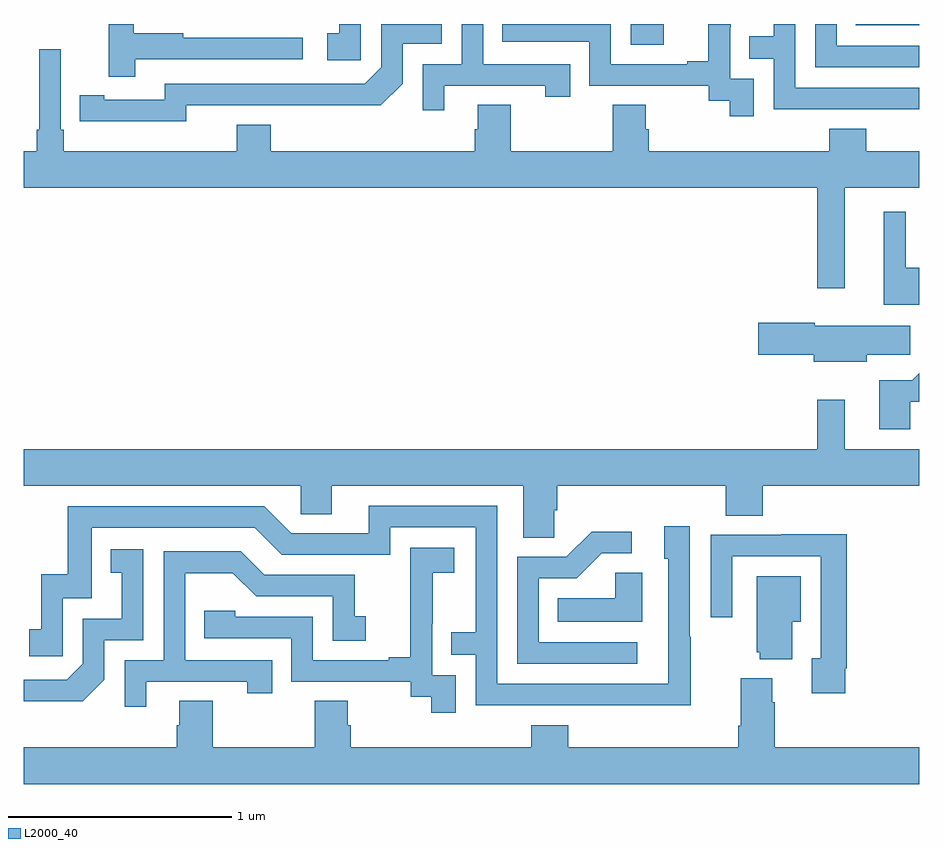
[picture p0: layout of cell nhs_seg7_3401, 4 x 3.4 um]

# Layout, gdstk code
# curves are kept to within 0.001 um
import gdstk
lib = gdstk.Library(unit=1e-6, precision=1e-09)
def R(c, l, rs):  # rectangles x0, y0, x1, y1
    for r in rs: c.add(gdstk.rectangle(r[:2], r[2:], *l))
def P(c, l, *ps):  # polygons
    for p in ps: c.add(gdstk.Polygon(p, *l))
L2000_40 = (2000, 40)

nhs_seg7_3401 = lib.new_cell('nhs_seg7_3401')
R(nhs_seg7_3401, L2000_40, [(329.712,1015.908,329.86,1016), (330.718,1015.994,331,1016)])
P(nhs_seg7_3401, L2000_40, [(331,1015.716),(330.447,1015.716),(330.447,1016),(330.351,1016),(330.351,1015.946),(330.241,1015.946),(330.241,1015.845),(330.351,1015.845),(330.351,1015.62),(330.847,1015.62),(330.847,1015.619),(331,1015.619)],
  [(328.506,1016),(328.409,1016),(328.409,1015.959),(328.356,1015.959),(328.356,1015.839),(328.506,1015.839)],
  [(327.497,1015.842),(328.246,1015.842),(328.246,1015.938),(327.713,1015.938),(327.713,1015.958),(327.49,1015.958),(327.49,1016),(327.38,1016),(327.38,1015.764),(327.497,1015.764)],
  [(328.879,1015.725),(329.33,1015.725),(329.33,1015.674),(329.441,1015.674),(329.441,1015.821),(329.052,1015.821),(329.052,1016),(328.956,1016),(328.956,1015.821),(328.782,1015.821),(328.782,1015.614),(328.879,1015.614)],
  [(327.726,1015.638),(328.594,1015.637),(328.692,1015.734),(328.692,1015.911),(328.866,1015.911),(328.866,1016),(328.596,1016),(328.596,1015.806),(328.524,1015.734),(327.63,1015.734),(327.63,1015.662),(327.358,1015.662),(327.358,1015.682),(327.25,1015.682),(327.25,1015.566),(327.726,1015.565)],
  [(330.261,1015.755),(330.156,1015.755),(330.156,1015.985),(330.158,1015.985),(330.158,1016),(330.059,1016),(330.059,1015.834),(329.963,1015.834),(329.963,1015.821),(329.622,1015.821),(329.622,1016),(329.137,1016),(329.137,1015.92),(329.526,1015.92),(329.526,1015.725),(330.06,1015.725),(330.06,1015.657),(330.153,1015.657),(330.153,1015.587),(330.261,1015.587)],
  [(331,1015.902),(330.633,1015.902),(330.633,1016),(330.537,1016),(330.537,1015.806),(331,1015.806)],
  [(330.667,1015.268),(331,1015.268),(331,1015.432),(330.764,1015.432),(330.764,1015.531),(330.599,1015.531),(330.599,1015.432),(329.792,1015.432),(329.792,1015.53),(329.779,1015.53),(329.779,1015.64),(329.632,1015.64),(329.632,1015.432),(329.175,1015.432),(329.175,1015.64),(329.027,1015.64),(329.027,1015.53),(329.015,1015.53),(329.015,1015.432),(328.103,1015.432),(328.103,1015.549),(327.95,1015.549),(327.95,1015.432),(327.179,1015.432),(327.179,1015.528),(327.165,1015.528),(327.165,1015.888),(327.069,1015.888),(327.069,1015.528),(327.057,1015.528),(327.057,1015.432),(327,1015.432),(327,1015.268),(330.546,1015.268),(330.546,1014.819),(330.667,1014.819)],
  [(331,1014.91),(330.94,1014.91),(330.94,1015.162),(330.842,1015.162),(330.842,1014.746),(331,1014.746)],
  [(330.766,1014.523),(330.961,1014.523),(330.961,1014.652),(330.534,1014.652),(330.534,1014.665),(330.282,1014.665),(330.282,1014.523),(330.53,1014.523),(330.53,1014.491),(330.766,1014.491)],
  [(330.961,1014.311),(331,1014.311),(331,1014.439),(330.97,1014.409),(330.821,1014.409),(330.821,1014.189),(330.961,1014.189)],
  [(329.37,1013.827),(329.384,1013.827),(329.384,1013.936),(330.137,1013.936),(330.137,1013.803),(330.302,1013.803),(330.302,1013.936),(331,1013.936),(331,1014.1),(330.667,1014.1),(330.667,1014.322),(330.546,1014.322),(330.546,1014.1),(327,1014.1),(327,1013.936),(328.236,1013.936),(328.236,1013.809),(328.375,1013.809),(328.375,1013.936),(329.231,1013.936),(329.231,1013.704),(329.37,1013.704)],
  [(329.979,1013.261),(329.976,1013.261),(329.976,1013.755),(329.861,1013.755),(329.861,1013.61),(329.88,1013.61),(329.88,1013.052),(329.115,1013.052),(329.115,1013.847),(328.541,1013.847),(328.541,1013.724),(328.194,1013.724),(328.074,1013.844),(327.195,1013.844),(327.195,1013.542),(327.077,1013.542),(327.077,1013.295),(327.024,1013.295),(327.024,1013.175),(327.174,1013.175),(327.174,1013.433),(327.303,1013.433),(327.303,1013.748),(328.032,1013.748),(328.152,1013.628),(328.638,1013.628),(328.638,1013.751),(329.019,1013.751),(329.019,1013.282),(328.909,1013.282),(328.909,1013.181),(329.019,1013.181),(329.019,1012.956),(329.979,1012.955)],
  [(329.74,1013.238),(329.301,1013.238),(329.301,1013.523),(329.47,1013.523),(329.581,1013.634),(329.716,1013.634),(329.716,1013.732),(329.537,1013.732),(329.424,1013.619),(329.205,1013.619),(329.205,1013.142),(329.74,1013.142)],
  [(330.67,1013.122),(330.677,1013.122),(330.677,1013.72),(330.385,1013.72),(330.385,1013.718),(330.069,1013.718),(330.069,1013.349),(330.165,1013.349),(330.165,1013.622),(330.561,1013.622),(330.561,1013.166),(330.521,1013.166),(330.521,1013.01),(330.67,1013.01)],
  [(328.929,1013.091),(328.824,1013.091),(328.824,1013.321),(328.826,1013.321),(328.826,1013.549),(328.924,1013.549),(328.924,1013.659),(328.726,1013.659),(328.726,1013.453),(328.727,1013.453),(328.727,1013.17),(328.631,1013.17),(328.631,1013.157),(328.29,1013.157),(328.29,1013.352),(327.945,1013.352),(327.945,1013.379),(327.805,1013.379),(327.805,1013.256),(328.194,1013.256),(328.194,1013.061),(328.728,1013.061),(328.728,1012.993),(328.821,1012.993),(328.821,1012.923),(328.929,1012.923)],
  [(327.36,1013.07),(327.36,1013.247),(327.534,1013.247),(327.534,1013.653),(327.388,1013.653),(327.388,1013.547),(327.437,1013.547),(327.437,1013.343),(327.264,1013.343),(327.264,1013.142),(327.192,1013.07),(327,1013.07),(327,1012.973),(327.262,1012.973)],
  [(327.547,1013.061),(327.998,1013.061),(327.998,1013.01),(328.109,1013.01),(328.109,1013.157),(327.72,1013.157),(327.72,1013.546),(327.934,1013.546),(328.038,1013.442),(328.38,1013.442),(328.38,1013.244),(328.528,1013.244),(328.528,1013.353),(328.479,1013.353),(328.479,1013.538),(328.075,1013.538),(327.97,1013.643),(327.624,1013.643),(327.624,1013.157),(327.45,1013.157),(327.45,1012.95),(327.547,1012.95)],
  [(329.764,1013.549),(329.643,1013.549),(329.643,1013.434),(329.386,1013.434),(329.386,1013.33),(329.764,1013.33)],
  [(330.433,1013.33),(330.472,1013.33),(330.472,1013.533),(330.275,1013.533),(330.275,1013.193),(330.287,1013.193),(330.287,1013.162),(330.433,1013.162)],
  [(331,1012.768),(330.356,1012.768),(330.356,1012.97),(330.343,1012.97),(330.343,1013.077),(330.203,1013.077),(330.203,1012.864),(330.191,1012.864),(330.191,1012.768),(329.432,1012.768),(329.432,1012.867),(329.267,1012.867),(329.267,1012.768),(328.46,1012.768),(328.46,1012.866),(328.447,1012.866),(328.447,1012.976),(328.3,1012.976),(328.3,1012.768),(327.843,1012.768),(327.843,1012.976),(327.695,1012.976),(327.695,1012.866),(327.683,1012.866),(327.683,1012.768),(327,1012.768),(327,1012.604),(331,1012.604)])

lib.write_gds('nhs_seg7_3401.gds')
